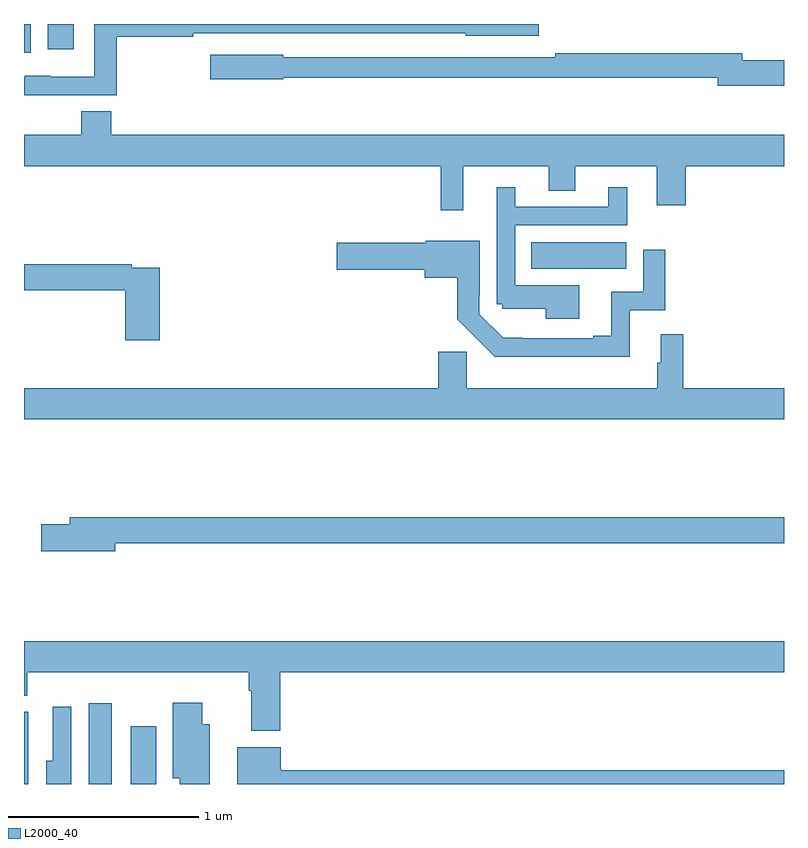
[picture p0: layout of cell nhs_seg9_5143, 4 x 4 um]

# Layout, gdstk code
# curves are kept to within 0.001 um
import gdstk
lib = gdstk.Library(unit=1e-6, precision=1e-09)
def R(c, l, rs):  # rectangles x0, y0, x1, y1
    for r in rs: c.add(gdstk.rectangle(r[:2], r[2:], *l))
def P(c, l, *ps):  # polygons
    for p in ps: c.add(gdstk.Polygon(p, *l))
L2000_40 = (2000, 40)

nhs_seg9_5143 = lib.new_cell('nhs_seg9_5143')
R(nhs_seg9_5143, L2000_40, [(409,1194.5,409.023,1194.88), (409.34,1194.5,409.462,1194.925), (409.562,1194.5,409.696,1194.805), (411.67,1197.212,412.171,1197.352), (409,1198.35,409.036,1198.5), (409.124,1198.368,409.261,1198.5)])
P(nhs_seg9_5143, L2000_40, [(409.237,1198.125),(409.487,1198.125),(409.487,1198.432),(409.892,1198.432),(409.892,1198.452),(411.324,1198.452),(411.324,1198.439),(411.709,1198.439),(411.709,1198.5),(409.371,1198.5),(409.371,1198.222),(409.137,1198.222),(409.137,1198.228),(409.005,1198.228),(409.005,1198.221),(409,1198.221),(409,1198.125),(409.005,1198.125),(409.005,1198.124),(409.237,1198.124)],
  [(413,1198.31),(412.78,1198.31),(412.78,1198.346),(411.796,1198.346),(411.796,1198.326),(410.364,1198.326),(410.364,1198.339),(409.98,1198.339),(409.98,1198.21),(410.364,1198.21),(410.364,1198.218),(412.652,1198.218),(412.652,1198.175),(413,1198.175)],
  [(411.311,1197.752),(411.761,1197.752),(411.761,1197.622),(411.901,1197.622),(411.901,1197.752),(412.331,1197.752),(412.331,1197.546),(412.484,1197.546),(412.484,1197.752),(413,1197.752),(413,1197.916),(409.46,1197.916),(409.46,1198.04),(409.3,1198.04),(409.3,1197.916),(409,1197.916),(409,1197.752),(411.193,1197.752),(411.193,1197.519),(411.311,1197.519)],
  [(411.922,1197.124),(411.585,1197.124),(411.585,1197.441),(412.174,1197.441),(412.174,1197.64),(412.076,1197.64),(412.076,1197.537),(411.586,1197.537),(411.586,1197.64),(411.489,1197.64),(411.489,1197.024),(411.516,1197.024),(411.516,1197.002),(411.746,1197.002),(411.746,1196.948),(411.922,1196.948)],
  [(411.677,1196.75),(412.189,1196.75),(412.189,1196.994),(412.376,1196.994),(412.376,1197.313),(412.26,1197.313),(412.26,1197.09),(412.091,1197.09),(412.091,1196.86),(411.995,1196.86),(411.995,1196.847),(411.522,1196.848),(411.396,1196.973),(411.396,1197.073),(411.399,1197.073),(411.399,1197.358),(411.114,1197.358),(411.114,1197.348),(410.646,1197.348),(410.646,1197.206),(411.11,1197.206),(411.11,1197.164),(411.281,1197.164),(411.281,1196.945),(411.478,1196.748),(411.677,1196.748)],
  [(409.715,1197.216),(409.568,1197.216),(409.568,1197.236),(409,1197.236),(409,1197.1),(409.532,1197.1),(409.532,1196.835),(409.715,1196.835)],
  [(413,1196.584),(412.469,1196.584),(412.469,1196.866),(412.352,1196.866),(412.352,1196.717),(412.333,1196.717),(412.333,1196.584),(411.329,1196.584),(411.329,1196.775),(411.179,1196.775),(411.179,1196.584),(409,1196.584),(409,1196.42),(413,1196.42)],
  [(409.48,1195.768),(413,1195.768),(413,1195.904),(409.241,1195.904),(409.241,1195.868),(409.092,1195.868),(409.092,1195.726),(409.48,1195.726)],
  [(410.348,1195.088),(413,1195.088),(413,1195.252),(409,1195.252),(409,1194.965),(409.016,1194.965),(409.016,1195.088),(410.183,1195.088),(410.183,1194.992),(410.195,1194.992),(410.195,1194.779),(410.348,1194.779)],
  [(409.978,1194.814),(409.939,1194.814),(409.939,1194.928),(409.784,1194.928),(409.784,1194.53),(409.82,1194.53),(409.82,1194.5),(409.978,1194.5)],
  [(409.248,1194.907),(409.152,1194.907),(409.152,1194.622),(409.118,1194.622),(409.118,1194.5),(409.248,1194.5)],
  [(413,1194.572),(410.35,1194.572),(410.35,1194.694),(410.123,1194.694),(410.123,1194.5),(413,1194.5)])

lib.write_gds('nhs_seg9_5143.gds')
